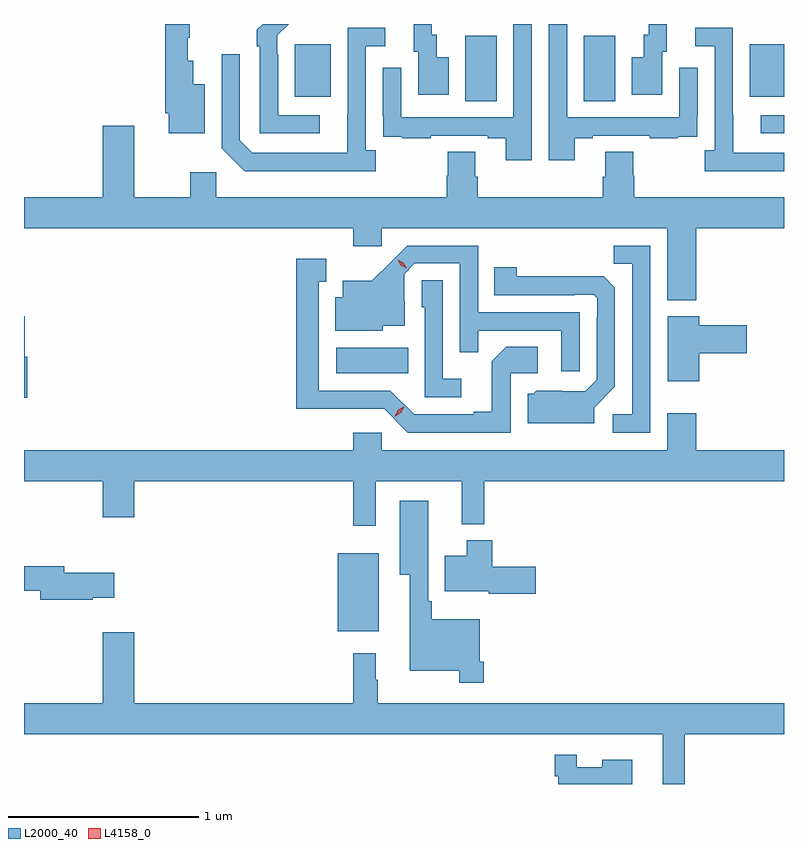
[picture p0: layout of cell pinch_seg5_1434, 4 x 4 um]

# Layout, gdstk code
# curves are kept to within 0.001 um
import gdstk
lib = gdstk.Library(unit=1e-6, precision=1e-09)
def R(c, l, rs):  # rectangles x0, y0, x1, y1
    for r in rs: c.add(gdstk.rectangle(r[:2], r[2:], *l))
def P(c, l, *ps):  # polygons
    for p in ps: c.add(gdstk.Polygon(p, *l))
L2000_40 = (2000, 40)
L4158_0 = (4158, 0)

pinch_seg5_1434 = lib.new_cell('pinch_seg5_1434')
R(pinch_seg5_1434, L2000_40, [(142.268,890.603,142.483,891.013), (142.26,891.962,142.64,892.096), (144.495,893.223,144.617,893.319), (142.94,893.392,143.104,893.736), (143.564,893.392,143.728,893.736), (142.043,893.417,142.231,893.692), (144.437,893.417,144.617,893.692)])
P(pinch_seg5_1434, L2000_40, [(142.852,893.623),(142.789,893.623),(142.789,893.742),(142.764,893.742),(142.764,893.799),(142.667,893.799),(142.667,893.652),(142.691,893.652),(142.691,893.427),(142.852,893.427)],
  [(143.289,893.799),(143.193,893.799),(143.193,893.307),(142.602,893.307),(142.602,893.569),(142.506,893.569),(142.506,893.314),(142.507,893.314),(142.507,893.205),(142.609,893.205),(142.609,893.199),(142.757,893.199),(142.757,893.211),(143.057,893.211),(143.057,893.199),(143.153,893.199),(143.153,893.082),(143.289,893.082)],
  [(143.977,893.652),(144.001,893.652),(144.001,893.799),(143.904,893.799),(143.904,893.742),(143.879,893.742),(143.879,893.623),(143.816,893.623),(143.816,893.427),(143.977,893.427)],
  [(143.515,893.199),(143.611,893.199),(143.611,893.211),(143.911,893.211),(143.911,893.199),(144.059,893.199),(144.059,893.205),(144.161,893.205),(144.161,893.314),(144.162,893.314),(144.162,893.569),(144.066,893.569),(144.066,893.307),(143.475,893.307),(143.475,893.799),(143.379,893.799),(143.379,893.082),(143.515,893.082)],
  [(141.568,893.482),(141.508,893.482),(141.508,893.605),(141.479,893.605),(141.479,893.727),(141.49,893.727),(141.49,893.799),(141.361,893.799),(141.361,893.329),(141.38,893.329),(141.38,893.225),(141.568,893.225)],
  [(142.174,893.319),(141.954,893.319),(141.954,893.639),(141.951,893.639),(141.951,893.739),(142.011,893.799),(141.873,893.799),(141.843,893.769),(141.843,893.681),(141.858,893.681),(141.858,893.223),(142.174,893.223)],
  [(144.617,893.121),(144.349,893.121),(144.349,893.321),(144.348,893.321),(144.348,893.778),(144.15,893.778),(144.15,893.682),(144.252,893.682),(144.252,893.134),(144.201,893.134),(144.201,893.024),(144.617,893.024)],
  [(142.468,893.134),(142.416,893.134),(142.416,893.682),(142.519,893.682),(142.519,893.778),(142.32,893.778),(142.319,893.121),(141.819,893.121),(141.753,893.187),(141.753,893.641),(141.657,893.641),(141.657,893.145),(141.778,893.024),(142.468,893.024)],
  [(144.155,892.724),(144.617,892.724),(144.617,892.888),(143.828,892.888),(143.828,893.001),(143.823,893.001),(143.823,893.126),(143.675,893.126),(143.675,892.994),(143.663,892.994),(143.663,892.888),(143.006,892.888),(143.006,892.994),(142.993,892.994),(142.993,893.126),(142.846,893.126),(142.846,893.001),(142.841,893.001),(142.841,892.888),(141.63,892.888),(141.63,893.02),(141.491,893.02),(141.491,892.888),(141.196,892.888),(141.196,893.263),(141.032,893.263),(141.032,892.888),(140.617,892.888),(140.617,892.724),(142.349,892.724),(142.349,892.629),(142.5,892.629),(142.5,892.724),(144.002,892.724),(144.002,892.346),(144.155,892.346)],
  [(143.913,892.632),(143.722,892.632),(143.722,892.537),(143.817,892.537),(143.817,891.744),(143.715,891.744),(143.715,891.648),(143.913,891.648)],
  [(143.541,892.281),(143.007,892.281),(143.007,892.632),(142.634,892.632),(142.447,892.447),(142.295,892.447),(142.295,892.36),(142.256,892.36),(142.256,892.184),(142.506,892.184),(142.506,892.211),(142.621,892.211),(142.621,892.34),(142.617,892.34),(142.617,892.482),(142.674,892.539),(142.911,892.539),(142.911,892.072),(143.009,892.072),(143.009,892.185),(143.445,892.185),(143.445,891.972),(143.541,891.972)],
  [(143.178,891.96),(143.32,891.96),(143.32,892.1),(143.155,892.1),(143.079,892.024),(143.079,891.757),(142.985,891.757),(142.985,891.744),(142.671,891.744),(142.545,891.87),(142.168,891.87),(142.168,892.443),(142.207,892.443),(142.207,892.564),(142.05,892.564),(142.05,891.773),(142.512,891.774),(142.638,891.648),(143.178,891.648)],
  [(143.617,891.78),(143.727,891.89),(143.727,892.412),(143.668,892.471),(143.211,892.472),(143.211,892.519),(143.092,892.519),(143.092,892.371),(143.516,892.371),(143.516,892.374),(143.616,892.374),(143.634,892.356),(143.634,892.256),(143.631,892.256),(143.631,891.927),(143.571,891.867),(143.314,891.868),(143.298,891.852),(143.267,891.852),(143.267,891.698),(143.617,891.698)],
  [(142.918,891.931),(142.821,891.931),(142.821,892.451),(142.71,892.451),(142.71,892.308),(142.725,892.308),(142.725,891.834),(142.918,891.834)],
  [(144.172,892.067),(144.421,892.067),(144.421,892.214),(144.172,892.214),(144.172,892.261),(144.005,892.261),(144.005,891.918),(144.172,891.918)],
  [(140.633,892.047),(140.62,892.047),(140.62,892.261),(140.617,892.261),(140.617,891.833),(140.633,891.833)],
  [(142.467,891.392),(142.922,891.392),(142.922,891.167),(143.039,891.167),(143.039,891.392),(144.617,891.392),(144.617,891.556),(144.155,891.556),(144.155,891.751),(144.002,891.751),(144.002,891.556),(142.5,891.556),(142.5,891.649),(142.349,891.649),(142.349,891.556),(140.617,891.556),(140.617,891.392),(141.032,891.392),(141.032,891.204),(141.196,891.204),(141.196,891.392),(142.351,891.392),(142.351,891.159),(142.467,891.159)],
  [(143.036,890.443),(143.016,890.443),(143.016,890.665),(142.763,890.665),(142.763,890.761),(142.744,890.761),(142.744,891.289),(142.595,891.289),(142.595,890.9),(142.646,890.9),(142.646,890.396),(142.908,890.396),(142.908,890.331),(143.036,890.331)],
  [(143.311,890.943),(143.081,890.943),(143.081,891.082),(142.946,891.082),(142.946,891.001),(142.832,891.001),(142.832,890.813),(143.064,890.813),(143.064,890.801),(143.311,890.801)],
  [(140.978,890.78),(141.091,890.78),(141.091,890.91),(140.83,890.91),(140.83,890.944),(140.617,890.944),(140.617,890.815),(140.702,890.815),(140.702,890.768),(140.978,890.768)],
  [(144.095,890.06),(144.617,890.06),(144.617,890.224),(142.48,890.224),(142.48,890.348),(142.468,890.348),(142.468,890.488),(142.351,890.488),(142.351,890.224),(141.196,890.224),(141.196,890.599),(141.032,890.599),(141.032,890.224),(140.617,890.224),(140.617,890.06),(143.978,890.06),(143.978,889.799),(144.095,889.799)],
  [(143.818,889.927),(143.66,889.927),(143.66,889.888),(143.527,889.888),(143.527,889.954),(143.41,889.954),(143.41,889.841),(143.43,889.841),(143.43,889.799),(143.818,889.799)])
P(pinch_seg5_1434, L4158_0, [(142.632,892.513),(142.601,892.528),(142.583,892.558),(142.583,892.558),(142.584,892.558),(142.614,892.543),(142.632,892.513),(142.632,892.513)],
  [(142.568,891.733),(142.568,891.733),(142.585,891.766),(142.616,891.785),(142.617,891.785),(142.617,891.785),(142.6,891.752),(142.568,891.733)])

lib.write_gds('pinch_seg5_1434.gds')
